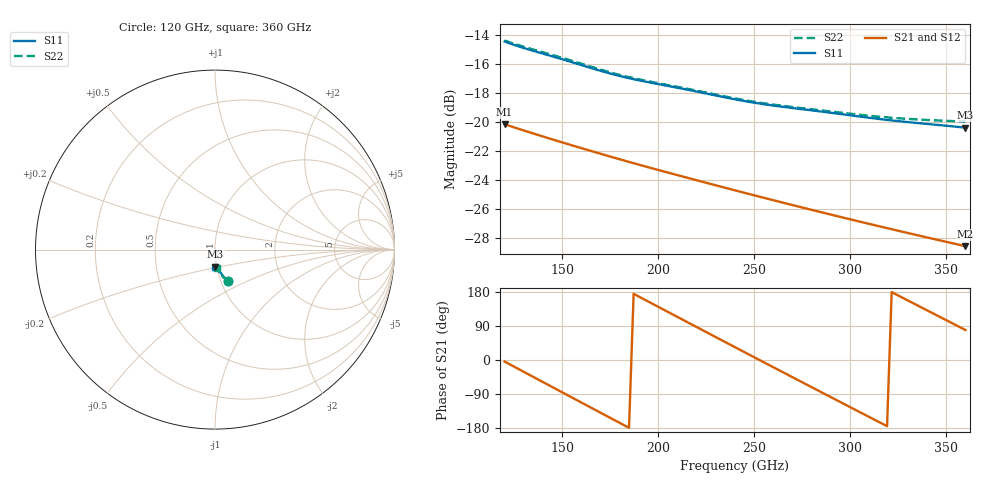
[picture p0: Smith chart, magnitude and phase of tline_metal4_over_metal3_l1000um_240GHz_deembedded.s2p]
! Created with skrf 2.2.0 (http://scikit-rf.org).
# GHz S DB R 50.0
! Port[1] = P1
! Port[2] = P2
!freq dBS11 angS11 dBS21 angS21 dBS12 angS12 dBS22 angS22
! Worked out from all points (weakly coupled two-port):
!   101 points, 120 GHz to 360 GHz, reference 50 ohm
!   highest |S21| = -20.15 dB at 120 GHz (marker M1); lowest = -28.6 dB at 360 GHz (marker M2)
!   lowest |S11| = -20.4 dB at 360 GHz (marker M3), VSWR 1.21, Z = 49.4 - j9.53 ohm
!   |S11| at or under -10 dB: start of sweep to end of sweep
!   |S22| runs from -20.0 to -14.4 dB; largest |S21 - S12| = 7.9e-14
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120  -14.44 -67.6  -20.15 -4.1  -20.15 -4.1  -14.37 -68.2
132  -14.97 -68.8  -20.66 -36.6  -20.66 -36.6  -14.88 -69.5
141.6  -15.34 -70.0  -21.06 -62.6  -21.06 -62.6  -15.24 -70.8
151.2  -15.71 -71.4  -21.45 -88.6  -21.45 -88.6  -15.61 -72.2
160.8  -16.10 -72.6  -21.83 -114.4  -21.83 -114.4  -16.00 -73.6
170.4  -16.48 -73.6  -22.20 -140.3  -22.20 -140.3  -16.39 -74.6
180  -16.82 -74.3  -22.57 -166.1  -22.57 -166.1  -16.74 -75.3
189.6  -17.11 -75.0  -22.92 168.2  -22.92 168.2  -17.04 -75.9
201.6  -17.42 -76.0  -23.36 136.1  -23.36 136.1  -17.35 -76.9
211.2  -17.66 -77.0  -23.70 110.5  -23.70 110.5  -17.60 -77.8
220.8  -17.91 -78.0  -24.04 84.9  -24.04 84.9  -17.85 -78.7
230.4  -18.17 -78.9  -24.38 59.3  -24.38 59.3  -18.11 -79.4
240  -18.43 -79.7  -24.71 33.8  -24.71 33.8  -18.36 -80.0
249.6  -18.65 -80.3  -25.04 8.4  -25.04 8.4  -18.59 -80.4
259.2  -18.85 -80.8  -25.36 -17.0  -25.36 -17.0  -18.78 -80.7
271.2  -19.05 -81.6  -25.77 -48.7  -25.77 -48.7  -18.98 -81.2
280.8  -19.20 -82.4  -26.08 -74.0  -26.08 -74.0  -19.13 -81.6
292.8  -19.40 -83.4  -26.48 -105.5  -26.48 -105.5  -19.31 -82.2
304.8  -19.61 -84.4  -26.86 -137.0  -26.86 -137.0  -19.49 -82.7
321.6  -19.88 -85.5  -27.39 179.1  -27.39 179.1  -19.70 -83.1
343.2  -20.17 -87.0  -28.06 122.8  -28.06 122.8  -19.87 -83.6
360  -20.38 -88.4  -28.56 79.2  -28.56 79.2  -19.97 -84.1
